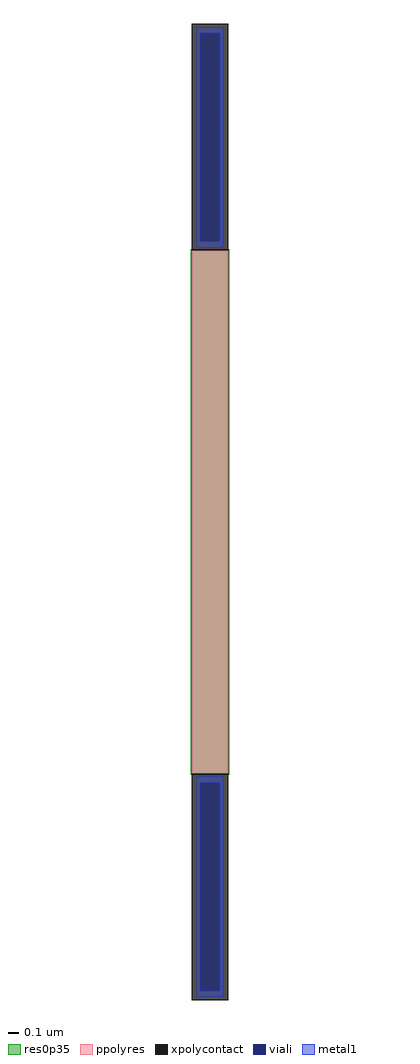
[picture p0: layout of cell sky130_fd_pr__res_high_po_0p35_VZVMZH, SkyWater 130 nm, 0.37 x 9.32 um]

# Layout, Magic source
magic
tech sky130A
magscale 1 2
<< xpolycontact >>
rect -35 500 35 932
rect -35 -932 35 -500
<< ppolyres >>
rect -35 -500 35 500
<< viali >>
rect -19 517 19 914
rect -19 -914 19 -517
<< metal1 >>
rect -25 914 25 926
rect -25 517 -19 914
rect 19 517 25 914
rect -25 505 25 517
rect -25 -517 25 -505
rect -25 -914 -19 -517
rect 19 -914 25 -517
rect -25 -926 25 -914
<< res0p35 >>
rect -37 -502 37 502
<< properties >>
string gencell sky130_fd_pr__res_high_po_0p35
string library sky130
string parameters w 0.350 l 5 m 1 nx 1 wmin 0.350 lmin 0.50 rho 319.8 val 5.681k dummy 0 dw 0.0 term 194.82 sterm 0.0 caplen 0 guard 0 glc 1 grc 1 gtc 1 gbc 1 compatible {sky130_fd_pr__res_high_po_0p35  sky130_fd_pr__res_high_po_0p69 sky130_fd_pr__res_high_po_1p41  sky130_fd_pr__res_high_po_2p85 sky130_fd_pr__res_high_po_5p73} full_metal 1 wmax 0.350 vias 1 n_guard 0 hv_guard 0 viagb 0 viagt 0 viagl 0 viagr 0
<< end >>
